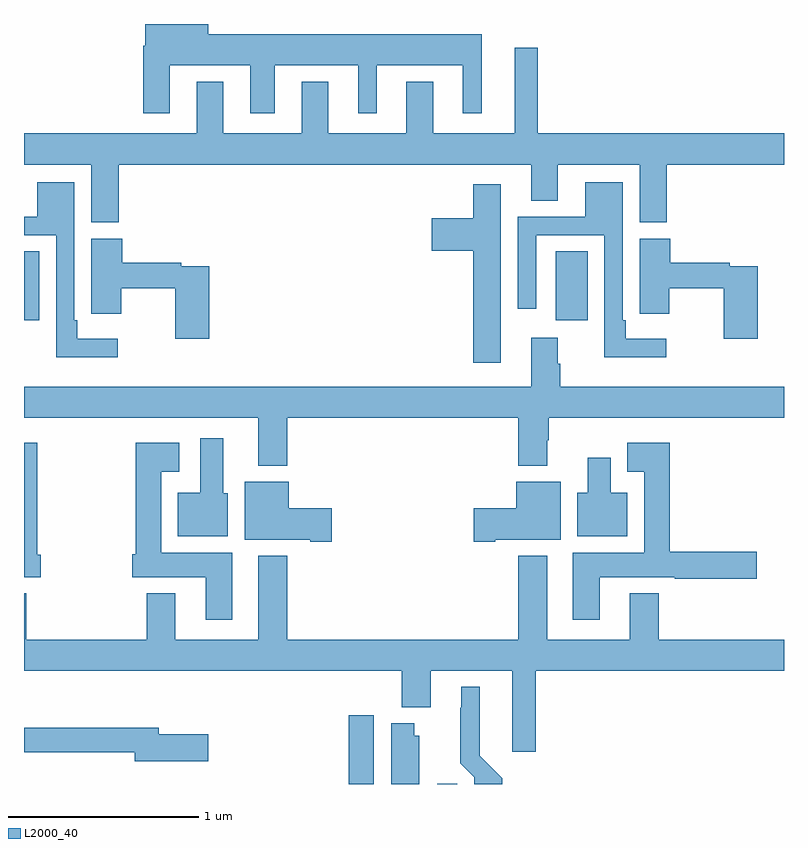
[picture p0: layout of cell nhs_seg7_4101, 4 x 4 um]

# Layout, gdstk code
import gdstk
lib = gdstk.Library(unit=1e-6, precision=1e-09)
def R(c, l, rs):  # rectangles x0, y0, x1, y1
    for r in rs: c.add(gdstk.rectangle(r[:2], r[2:], *l))
def P(c, l, *ps):  # polygons
    for p in ps: c.add(gdstk.Polygon(p, *l))
L2000_40 = (2000, 40)

nhs_seg7_4101 = lib.new_cell('nhs_seg7_4101')
R(nhs_seg7_4101, L2000_40, [(372.71,1020,372.841,1020.361), (373.175,1020,373.279,1020.001), (371,1022.442,371.08,1022.804), (373.799,1022.442,373.966,1022.804)])
P(nhs_seg7_4101, L2000_40, [(371.767,1023.782),(372.191,1023.782),(372.191,1023.531),(372.319,1023.531),(372.319,1023.782),(372.758,1023.782),(372.758,1023.531),(372.856,1023.531),(372.856,1023.782),(373.31,1023.782),(373.31,1023.531),(373.408,1023.531),(373.408,1023.946),(371.971,1023.946),(371.971,1024),(371.639,1024),(371.639,1023.886),(371.627,1023.886),(371.627,1023.531),(371.767,1023.531)],
  [(373.705,1023.874),(373.583,1023.874),(373.583,1023.424),(373.153,1023.424),(373.153,1023.697),(373.013,1023.697),(373.013,1023.424),(372.601,1023.424),(372.601,1023.697),(372.461,1023.697),(372.461,1023.424),(372.049,1023.424),(372.049,1023.697),(371.909,1023.697),(371.909,1023.424),(371,1023.424),(371,1023.26),(371.354,1023.26),(371.354,1022.956),(371.498,1022.956),(371.498,1023.26),(373.67,1023.26),(373.67,1023.07),(373.81,1023.07),(373.81,1023.26),(374.24,1023.26),(374.24,1022.956),(374.384,1022.956),(374.384,1023.26),(375,1023.26),(375,1023.424),(373.705,1023.424)],
  [(374.38,1022.344),(374.167,1022.344),(374.167,1022.44),(374.151,1022.44),(374.151,1023.166),(373.955,1023.166),(373.955,1022.985),(373.599,1022.985),(373.599,1022.502),(373.695,1022.502),(373.695,1022.889),(374.055,1022.889),(374.055,1022.246),(374.38,1022.246)],
  [(371.494,1022.344),(371.281,1022.344),(371.281,1022.44),(371.265,1022.44),(371.265,1023.166),(371.069,1023.166),(371.069,1022.985),(371,1022.985),(371,1022.889),(371.169,1022.889),(371.169,1022.246),(371.494,1022.246)],
  [(373.51,1023.157),(373.364,1023.157),(373.364,1022.977),(373.146,1022.977),(373.146,1022.807),(373.364,1022.807),(373.364,1022.217),(373.51,1022.217)],
  [(371.975,1022.724),(371.828,1022.724),(371.828,1022.744),(371.516,1022.744),(371.516,1022.871),(371.354,1022.871),(371.354,1022.587),(371.355,1022.587),(371.355,1022.475),(371.511,1022.475),(371.511,1022.608),(371.797,1022.608),(371.797,1022.343),(371.975,1022.343)],
  [(374.861,1022.724),(374.714,1022.724),(374.714,1022.744),(374.402,1022.744),(374.402,1022.871),(374.24,1022.871),(374.24,1022.587),(374.241,1022.587),(374.241,1022.475),(374.397,1022.475),(374.397,1022.608),(374.683,1022.608),(374.683,1022.343),(374.861,1022.343)],
  [(372.386,1021.928),(373.601,1021.928),(373.601,1021.676),(373.753,1021.676),(373.753,1021.808),(373.761,1021.808),(373.761,1021.928),(375,1021.928),(375,1022.092),(373.823,1022.092),(373.823,1022.213),(373.81,1022.213),(373.81,1022.35),(373.67,1022.35),(373.67,1022.092),(371,1022.092),(371,1021.928),(372.233,1021.928),(372.233,1021.676),(372.386,1021.676)],
  [(372.073,1021.53),(372.049,1021.53),(372.049,1021.819),(371.927,1021.819),(371.927,1021.534),(371.81,1021.534),(371.81,1021.304),(372.073,1021.304)],
  [(372.097,1021.216),(371.722,1021.216),(371.722,1021.643),(371.818,1021.643),(371.818,1021.795),(371.588,1021.795),(371.588,1021.209),(371.57,1021.209),(371.57,1021.088),(371.957,1021.088),(371.957,1020.864),(372.097,1020.864)],
  [(371.087,1021.206),(371.069,1021.206),(371.069,1021.795),(371,1021.795),(371,1021.088),(371.087,1021.088)],
  [(374.029,1021.088),(374.425,1021.088),(374.425,1021.081),(374.857,1021.081),(374.857,1021.223),(374.399,1021.223),(374.399,1021.795),(374.174,1021.795),(374.174,1021.643),(374.264,1021.643),(374.264,1021.216),(373.889,1021.216),(373.889,1020.864),(374.029,1020.864)],
  [(374.176,1021.534),(374.089,1021.534),(374.089,1021.717),(373.967,1021.717),(373.967,1021.534),(373.913,1021.534),(373.913,1021.304),(374.176,1021.304)],
  [(373.48,1021.286),(373.825,1021.286),(373.825,1021.591),(373.592,1021.591),(373.592,1021.452),(373.368,1021.452),(373.368,1021.274),(373.48,1021.274)],
  [(372.619,1021.452),(372.394,1021.452),(372.394,1021.591),(372.161,1021.591),(372.161,1021.286),(372.506,1021.286),(372.506,1021.274),(372.619,1021.274)],
  [(373.694,1020.596),(375,1020.596),(375,1020.76),(374.342,1020.76),(374.342,1021.003),(374.189,1021.003),(374.189,1020.76),(373.753,1020.76),(373.753,1021.201),(373.601,1021.201),(373.601,1020.76),(372.386,1020.76),(372.386,1021.201),(372.233,1021.201),(372.233,1020.76),(371.797,1020.76),(371.797,1021.003),(371.645,1021.003),(371.645,1020.76),(371.012,1020.76),(371.012,1021.003),(371,1021.003),(371,1020.596),(372.989,1020.596),(372.989,1020.404),(373.141,1020.404),(373.141,1020.596),(373.571,1020.596),(373.571,1020.171),(373.694,1020.171)],
  [(373.517,1020.03),(373.399,1020.148),(373.399,1020.511),(373.301,1020.511),(373.301,1020.401),(373.297,1020.401),(373.297,1020.11),(373.371,1020.036),(373.371,1020),(373.517,1020)],
  [(373.081,1020.255),(373.054,1020.255),(373.054,1020.319),(372.932,1020.319),(372.932,1020),(373.081,1020)],
  [(371.971,1020.261),(371.71,1020.261),(371.71,1020.295),(371,1020.295),(371,1020.166),(371.582,1020.166),(371.582,1020.119),(371.971,1020.119)])

lib.write_gds('nhs_seg7_4101.gds')
